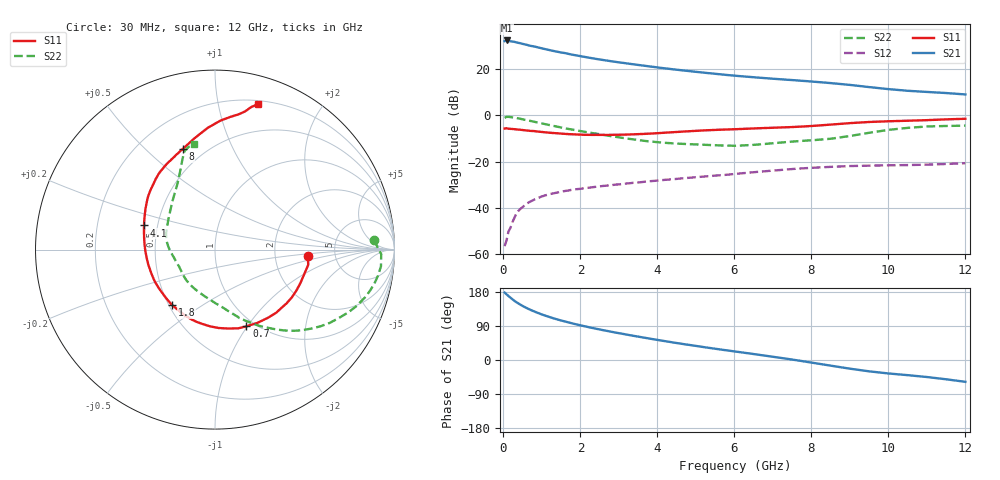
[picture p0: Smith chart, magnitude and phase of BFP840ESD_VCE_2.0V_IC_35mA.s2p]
! Infineon Technologies  Discrete & RF Semiconductors
! BFP840ESD
! VCE =  2.0 V,  IC =  35 mA
! Common Emitter S-Parameters:  May 2012
# GHz  S  MA  R  50
!  f  S11  S21  S12  S22
! GHz  MAG  ANG  MAG  ANG  MAG  ANG  MAG  ANG
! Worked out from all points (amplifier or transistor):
!   93 points, 30 MHz to 12 GHz, reference 50 ohm
!   highest |S21| = 32.3 dB at 80 MHz (marker M1)
!   |S21| within 3 dB of that: start of sweep to 898.5 MHz
!   unconditionally stable (mu >= 1): start of sweep to 58.5 MHz; 3.572 GHz to 7.85 GHz
!   at 1.1 GHz: K = 0.55, MSG = 31.5 dB, |S12| = -34.5 dB
!   at 4.2 GHz: K = 1.04, MAG = 22.8 dB, |S12| = -27.8 dB
!   at 12 GHz: K = 0.71, MSG = 14.8 dB, |S12| = -20.6 dB
!   S11 on the Smith chart (normalised r, x): 30 MHz: 3.12, -0.29; 700 MHz: 0.91, -0.99; 1.8 GHz: 0.52, -0.38; 4.1 GHz: 0.42, +0.14; 8 GHz: 0.38, +0.66; 12 GHz: 0.23, +1.31
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0.03  0.518 -3.8  39.91 177.9  0.0015 82.6  0.8866 3.4
0.08  0.5264 -9.3  41.4 173.3  0.002 73.6  0.9264 -1.6
0.23  0.5076 -26.7  39.27 160.5  0.0049 78.8  0.9078 -12.1
0.33  0.4989 -36.8  37.74 152.9  0.0075 73.2  0.8795 -17.4
0.43  0.4901 -45.7  36.22 146.6  0.0094 69.8  0.8459 -22.1
0.5  0.4813 -52.0  34.9 142.5  0.0105 68.6  0.8211 -25.2
0.7  0.462 -67.8  31.68 132.4  0.0138 63.5  0.7583 -32.6
0.9  0.4461 -80.4  29.29 124.0  0.0165 58.8  0.6976 -39.0
1.2  0.4212 -98.8  25.61 113.3  0.0199 54.3  0.6165 -47.2
1.5  0.4039 -114.1  22.74 104.2  0.0225 50.2  0.547 -53.8
1.8  0.3904 -127.6  20.32 96.3  0.025 47.9  0.4907 -59.9
2.1  0.3806 -139.6  18.34 89.2  0.0269 45.6  0.4426 -65.2
2.4  0.3793 -150.9  16.57 82.6  0.0287 44.9  0.4047 -70.4
2.9  0.381 -167.0  14.34 72.6  0.0319 43.4  0.3458 -78.6
3.4  0.39 178.9  12.57 63.4  0.0352 41.7  0.301 -88.9
4.1  0.4173 161.2  10.59 51.3  0.0399 39.8  0.2595 -106.4
5.2  0.4732 142.4  8.362 34.1  0.0477 35.6  0.232 -134.7
6.1  0.5055 132.1  7.076 21.3  0.0552 32.4  0.2227 -157.0
8  0.5892 107.7  5.381 -6.8  0.0737 18.5  0.2895 159.5
8.5  0.6316 100.3  4.975 -14.9  0.0773 14.0  0.3125 145.8
10.5  0.7657 80.0  3.394 -40.0  0.0845 -2.2  0.537 109.7
12  0.8437 73.7  2.826 -57.6  0.0928 -10.3  0.5997 101.2
